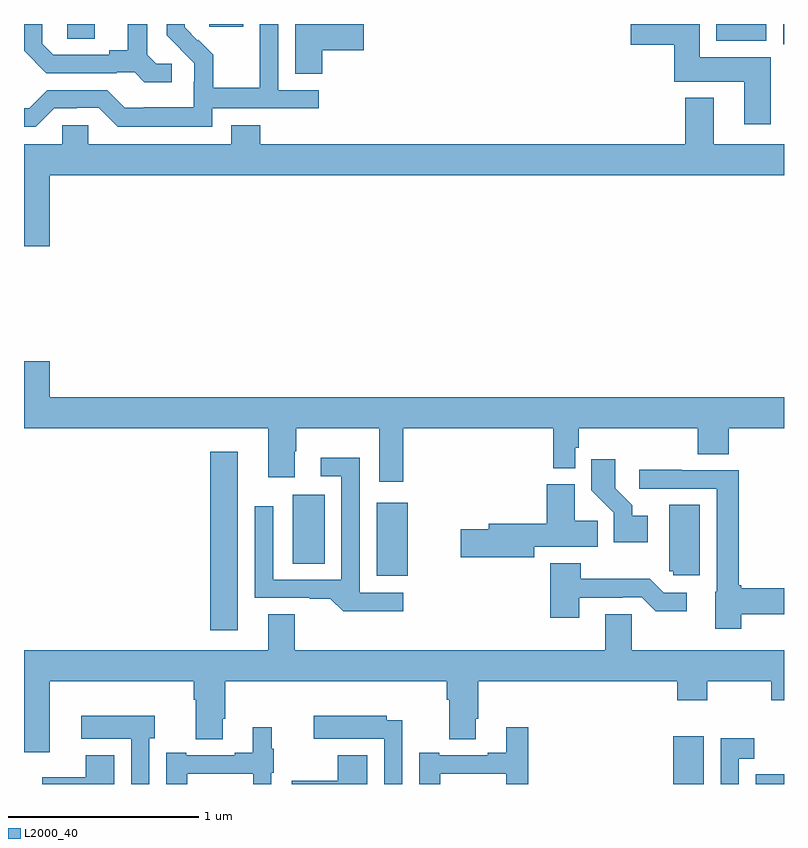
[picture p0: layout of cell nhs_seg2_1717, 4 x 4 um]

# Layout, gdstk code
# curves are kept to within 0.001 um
import gdstk
lib = gdstk.Library(unit=1e-6, precision=1e-09)
def R(c, l, rs):  # rectangles x0, y0, x1, y1
    for r in rs: c.add(gdstk.rectangle(r[:2], r[2:], *l))
def P(c, l, *ps):  # polygons
    for p in ps: c.add(gdstk.Polygon(p, *l))
L2000_40 = (2000, 40)

nhs_seg2_1717 = lib.new_cell('nhs_seg2_1717')
R(nhs_seg2_1717, L2000_40, [(204.416,609.8,204.577,610.051), (204.851,609.8,205,609.852), (201.98,610.608,202.126,611.548), (202.856,610.895,203.02,611.281), (202.415,610.96,202.582,611.323), (204.995,613.694,205,613.8), (204.644,613.712,204.907,613.8), (201.228,613.723,201.373,613.8), (201.974,613.785,202.153,613.8)])
P(nhs_seg2_1717, L2000_40, [(202.571,613.661),(202.789,613.661),(202.789,613.8),(202.427,613.8),(202.427,613.537),(202.571,613.537)],
  [(204.931,613.624),(204.556,613.624),(204.556,613.8),(204.194,613.8),(204.194,613.691),(204.422,613.691),(204.422,613.496),(204.791,613.496),(204.791,613.272),(204.931,613.272)],
  [(201.778,613.59),(201.696,613.59),(201.649,613.637),(201.649,613.8),(201.545,613.8),(201.545,613.661),(201.449,613.661),(201.449,613.638),(201.154,613.638),(201.097,613.695),(201.097,613.8),(201,613.8),(201,613.658),(201.116,613.542),(201.488,613.542),(201.488,613.545),(201.582,613.545),(201.634,613.493),(201.778,613.493)],
  [(201.99,613.356),(202.552,613.356),(202.552,613.452),(202.338,613.452),(202.338,613.8),(202.242,613.8),(202.242,613.688),(202.24,613.688),(202.24,613.465),(201.995,613.465),(201.995,613.639),(201.918,613.716),(201.915,613.713),(201.845,613.784),(201.845,613.8),(201.75,613.8),(201.75,613.742),(201.896,613.594),(201.896,613.497),(201.894,613.497),(201.894,613.363),(201.631,613.363),(201.631,613.359),(201.531,613.359),(201.438,613.452),(201.123,613.452),(201.027,613.356),(201,613.356),(201,613.26),(201.063,613.26),(201.159,613.356),(201.278,613.356),(201.278,613.359),(201.393,613.359),(201.493,613.259),(201.99,613.259)],
  [(201.136,613.004),(205,613.004),(205,613.168),(204.631,613.168),(204.631,613.411),(204.479,613.411),(204.479,613.168),(202.244,613.168),(202.244,613.267),(202.091,613.267),(202.091,613.168),(201.339,613.168),(201.339,613.266),(201.201,613.266),(201.201,613.168),(201,613.168),(201,612.63),(201.136,612.63)],
  [(202.997,611.672),(203.785,611.672),(203.785,611.462),(203.901,611.462),(203.901,611.571),(203.921,611.571),(203.921,611.672),(204.545,611.672),(204.545,611.536),(204.71,611.536),(204.71,611.672),(205,611.672),(205,611.836),(201.136,611.836),(201.136,612.025),(201,612.025),(201,611.672),(202.286,611.672),(202.286,611.415),(202.426,611.415),(202.426,611.552),(202.434,611.552),(202.434,611.672),(202.871,611.672),(202.871,611.391),(202.997,611.391)],
  [(202.996,610.806),(202.767,610.806),(202.767,611.518),(202.563,611.518),(202.563,611.421),(202.671,611.421),(202.671,610.875),(202.311,610.875),(202.311,611.263),(202.215,611.263),(202.215,610.779),(202.505,610.779),(202.505,610.774),(202.613,610.774),(202.679,610.709),(202.996,610.709)],
  [(204.283,611.212),(204.202,611.212),(204.202,611.267),(204.112,611.357),(204.112,611.509),(203.986,611.509),(203.986,611.346),(204.105,611.227),(204.105,611.072),(204.283,611.072)],
  [(204.774,610.694),(205,610.694),(205,610.829),(204.774,610.829),(204.774,610.847),(204.761,610.847),(204.761,611.451),(204.461,611.451),(204.461,611.454),(204.237,611.454),(204.237,611.355),(204.645,611.355),(204.645,610.812),(204.638,610.812),(204.638,610.616),(204.774,610.616)],
  [(203.686,611.048),(204.02,611.048),(204.02,611.186),(203.899,611.186),(203.899,611.377),(203.75,611.377),(203.75,611.171),(203.447,611.171),(203.447,611.141),(203.298,611.141),(203.298,610.994),(203.686,610.994)],
  [(204.556,611.269),(204.395,611.269),(204.395,610.92),(204.417,610.92),(204.417,610.899),(204.556,610.899)],
  [(203.923,610.779),(204.152,610.779),(204.152,610.782),(204.252,610.782),(204.325,610.709),(204.487,610.709),(204.487,610.806),(204.366,610.806),(204.293,610.879),(203.931,610.879),(203.931,610.963),(203.771,610.963),(203.771,610.674),(203.923,610.674)],
  [(201.136,610.34),(201.893,610.34),(201.893,610.244),(201.905,610.244),(201.905,610.036),(202.045,610.036),(202.045,610.144),(202.058,610.144),(202.058,610.34),(203.225,610.34),(203.225,610.244),(203.237,610.244),(203.237,610.036),(203.377,610.036),(203.377,610.144),(203.39,610.144),(203.39,610.34),(204.437,610.34),(204.437,610.241),(204.597,610.241),(204.597,610.34),(204.934,610.34),(204.934,610.241),(205,610.241),(205,610.504),(204.198,610.504),(204.198,610.694),(204.059,610.694),(204.059,610.504),(202.426,610.504),(202.426,610.694),(202.286,610.694),(202.286,610.504),(201,610.504),(201,609.966),(201.136,609.966)],
  [(201.66,610.041),(201.688,610.041),(201.688,610.159),(201.3,610.159),(201.3,610.037),(201.564,610.037),(201.564,609.8),(201.66,609.8)],
  [(202.992,610.136),(202.908,610.136),(202.908,610.159),(202.524,610.159),(202.524,610.037),(202.799,610.037),(202.799,610.038),(202.896,610.038),(202.896,609.8),(202.992,609.8)],
  [(203.191,609.855),(203.538,609.855),(203.538,609.8),(203.654,609.8),(203.654,610.099),(203.537,610.099),(203.537,609.964),(203.441,609.964),(203.441,609.951),(203.185,609.951),(203.185,609.964),(203.081,609.964),(203.081,609.8),(203.191,609.8)],
  [(201.859,609.855),(202.206,609.855),(202.206,609.8),(202.302,609.8),(202.302,609.858),(202.315,609.858),(202.315,609.986),(202.305,609.986),(202.305,610.099),(202.205,610.099),(202.205,609.964),(202.109,609.964),(202.109,609.951),(201.853,609.951),(201.853,609.964),(201.749,609.964),(201.749,609.8),(201.859,609.8)],
  [(204.762,609.933),(204.844,609.933),(204.844,610.042),(204.666,610.042),(204.666,609.8),(204.762,609.8)],
  [(202.807,609.952),(202.651,609.952),(202.651,609.817),(202.41,609.817),(202.41,609.8),(202.807,609.8)],
  [(201.475,609.952),(201.326,609.952),(201.326,609.835),(201.096,609.835),(201.096,609.8),(201.475,609.8)])

lib.write_gds('nhs_seg2_1717.gds')
